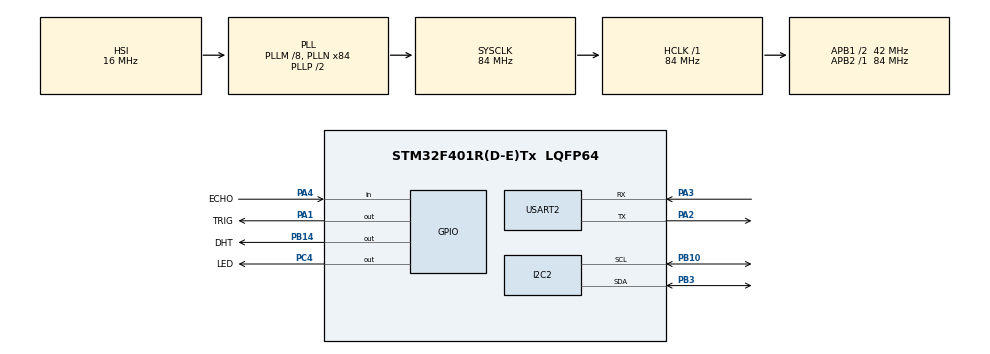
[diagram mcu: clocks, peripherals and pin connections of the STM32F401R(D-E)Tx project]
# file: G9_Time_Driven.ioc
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Mcu.Family=STM32F4
Mcu.Name=STM32F401R(D-E)Tx
Mcu.Package=LQFP64
NVIC.PriorityGroup=NVIC_PRIORITYGROUP_4
NVIC.TIM3_IRQn=true\:1\:0\:true\:false\:true\:true\:true\:true
NVIC.USART2_IRQn=true\:1\:0\:true\:false\:true\:true\:true\:true
PA1.GPIO_Label=TRIG
PA1.Signal=GPIO_Output
PA13.Mode=Serial_Wire
PA13.Signal=SYS_JTMS-SWDIO
PA14.Mode=Serial_Wire
PA14.Signal=SYS_JTCK-SWCLK
PA2.Mode=Asynchronous
PA2.Signal=USART2_TX
PA3.Mode=Asynchronous
PA3.Signal=USART2_RX
PA4.GPIO_Label=ECHO
PA4.Signal=GPIO_Input
PB10.Mode=I2C
PB10.Signal=I2C2_SCL
PB14.GPIO_Label=DHT
PB14.Signal=GPIO_Output
PB3.Mode=I2C
PB3.Signal=I2C2_SDA
PC4.GPIO_Label=LED
PC4.Signal=GPIO_Output
PH0\ -\ OSC_IN.Mode=HSE-External-Oscillator
PH0\ -\ OSC_IN.Signal=RCC_OSC_IN
PH1\ -\ OSC_OUT.Mode=HSE-External-Oscillator
PH1\ -\ OSC_OUT.Signal=RCC_OSC_OUT
ProjectManager.HeapSize=0x200
ProjectManager.StackSize=0x400
ProjectManager.TargetToolchain=STM32CubeIDE
RCC.48MHZClocksFreq_Value=42000000
RCC.AHBFreq_Value=84000000
RCC.APB1CLKDivider=RCC_HCLK_DIV2
RCC.APB1Freq_Value=42000000
RCC.APB1TimFreq_Value=84000000
RCC.APB2Freq_Value=84000000
RCC.APB2TimFreq_Value=84000000
RCC.CortexFreq_Value=84000000
RCC.HCLKFreq_Value=84000000
RCC.HSE_VALUE=25000000
RCC.HSI_VALUE=16000000
RCC.LSE_VALUE=32768
RCC.PLLM=8
RCC.PLLN=84
RCC.SYSCLKFreq_VALUE=84000000
RCC.SYSCLKSource=RCC_SYSCLKSOURCE_PLLCLK
RCC.VCOOutputFreq_Value=168000000
TIM3.Period=19999
TIM3.Prescaler=839
TIM4.Prescaler=83
USART2.VirtualMode=VM_ASYNC
VP_TIM3_VS_ClockSourceINT.Mode=Internal
VP_TIM4_VS_ClockSourceINT.Mode=Internal
board=custom

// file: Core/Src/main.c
/* USER CODE BEGIN Header */
/**
 ******************************************************************************
 * @file           : main.c
 * @brief          : Main program body
 ******************************************************************************
 * @attention
 *
 * Copyright (c) 2024 STMicroelectronics.
 * All rights reserved.
 *
 * This software is licensed under terms that can be found in the LICENSE file
 * in the root directory of this software component.
 * If no LICENSE file comes with this software, it is provided AS-IS.
 *
 ******************************************************************************
 */
/* USER CODE END Header */
#include "main.h"

/* USER CODE BEGIN Includes */
#include <stdio.h>
#include <string.h>
#include <stdlib.h>
#include "delay_timer.h"
#include "dht11.h"
#include "lcd_i2c.h"
#include "hrf05.h"
#include "Task_Scheduler.h"
/* USER CODE END Includes */

/* USER CODE BEGIN PTD */

/* Display mode */
typedef enum
{
	DISPLAY_DISTANCE,
	DISPLAY_TEMP,
	DISPLAY_HUMI,
	DISPLAY_ALL
} DisplayMode_t;

/* USER CODE END PTD */

/* USER CODE BEGIN PD */
#define MAX_RX_LEN 				13
#define DISPLAY_COMMAND_LEN 	11
#define TIME_COMMAND_LEN 		8
#define FRAME_TICK_LENGTH_MS 	200 //in ms
/* USER CODE END PD */

I2C_HandleTypeDef hi2c2;

TIM_HandleTypeDef htim3;
TIM_HandleTypeDef htim4;

UART_HandleTypeDef huart2;

/* USER CODE BEGIN PV */
/* Sensors Instance */
DHT11_Sensor dht;
LCD_I2C_Name lcd;
SRF05_Device_Name hrf05;

/* Buffers and flags */
uint8_t count;
DHT11_Status dhtStatus;
char temp[18];
uint8_t rxData[20]; /* UART data receiver buffer */
uint8_t rxDataIndex = 0;
volatile uint8_t isInterrupt = 0;
DisplayMode_t DisplayMode = DISPLAY_ALL;

float dhtTemp; /* Measurement value of Temperature */
float dhtHumid; /* Measurement value of Humidity */
float distance; /* Measurement value of distance */

sTaskTCB* TASK_DHT_MEASUREMENT;
sTaskTCB* TASK_DIST_MEASUREMENT;
sTaskTCB* TASK_DISPLAY_MEASUREMENT;
sTaskTCB* TASK_INTERRUPT_HANDLER;

/* USER CODE END PV */

void SystemClock_Config(void);
static void MX_GPIO_Init(void);
static void MX_TIM4_Init(void);
static void MX_I2C2_Init(void);
static void MX_USART2_UART_Init(void);
static void MX_TIM3_Init(void);

/* USER CODE BEGIN 0 */
int __io_putchar(int ch)
{
	HAL_UART_Transmit(&huart2, (uint8_t *)&ch, 1, HAL_MAX_DELAY);

	return ch;
}

/* UART Interrupt Task handler */
void HAL_UART_RxCpltCallback(UART_HandleTypeDef *huart)
{
	if (huart->Instance == huart2.Instance)
	{
		if (rxData[rxDataIndex] == '\n')
		{
			rxData[rxDataIndex] = '\0';
			isInterrupt = 1;
			rxDataIndex = 0;
		}
		else
		{
			rxDataIndex ++;
		}
	}
	HAL_UART_Receive_IT(&huart2, (uint8_t*)&rxData[rxDataIndex], 1);
}

/* UART command handler */
void TASK_UART_Handler(){
	if (isInterrupt){
		printf("UART Handler IN: %ld\r\n", uwTick);
		NVIC_DisableIRQ(USART2_IRQn);
		/* Given the following commands */
		/* Display Mode (11 characters)
		 * displaytemp
		 * displayhumi
		 * displaydist
		 * displayboth
		 */

		/* Time
		 * timetemp
		 * timehumi
		 * timedist
		 */

		char *command = strtok((char*)rxData, " ");
		char *time = strtok(NULL, " ");
		if (NULL == time){
			if (strcmp((const char*)rxData, "displaytemp") == 0)
			{
				DisplayMode = DISPLAY_TEMP;
				printf("Change Display Mode to DISPLAY_TEMP\r\n\n");
			}
			else if (strcmp((const char*)rxData, "displayhumi") == 0)
			{
				DisplayMode = DISPLAY_HUMI;
				printf("Change Display Mode to DISPLAY_HUMI\r\n\n");
			}
			else if (strcmp((const char*)rxData, "displaydist") == 0)
			{
				DisplayMode = DISPLAY_DISTANCE;
				printf("Change Display Mode to DISPLAY_DIST\r\n\n");
			}
			else if (strcmp((const char*)rxData, "displayboth") == 0)
			{
				DisplayMode = DISPLAY_ALL;
				printf("Change Display Mode to DISPLAY_ALL\r\n\n");
			}
			else
			{
				printf("Error Command Syntax\r\n\n");
			}
		}
		else {
			uint32_t pTime = atoi(time);
			if (strcmp((const char*)command, "timedht1") == 0)
			{
				TASK_DHT_MEASUREMENT->Period = pTime/FRAME_TICK_LENGTH_MS;
				printf("Change period of temp time to %ld\r\n", pTime);
			}
			else if (strcmp((const char*)command, "timedist") == 0)
			{
				TASK_DIST_MEASUREMENT->Period = pTime/FRAME_TICK_LENGTH_MS;
				printf("Change period of dist time to %ld\r\n", pTime);
			}
			else
			{
				printf("Error Command Syntax\r\n\n");
			}
			TASK_DISPLAY_MEASUREMENT->Period = TASK_DHT_MEASUREMENT->Period + TASK_DIST_MEASUREMENT->Period;

		}
		NVIC_EnableIRQ(USART2_IRQn);
		printf("UART Handler OUT: %ld\r\n", uwTick);
	}
	isInterrupt = 0;

}

void HAL_TIM_PeriodElapsedCallback(TIM_HandleTypeDef *htim)
{
	if(htim == &htim3){
		SCH_Update();
	}
}

void TASK_Dht_Sense(){
	printf("TASK_DHT_MEASUREMENT IN: %ld\r\n", uwTick);
	dhtStatus = DHT11_GetData(&dht);
	dhtHumid = dht.Humi;
	dhtTemp = dht.Temp;
	printf("TASK_DHT_MEASUREMENT OUT: %ld\r\n", uwTick);
}

void TASK_Dist_Sense(){
	printf("TASK_DIST_MEASUREMENT IN: %ld\r\n", uwTick);
	SRF05_Read(&hrf05);
	distance = hrf05.Distance;
	printf("TASK_DIST_MEASUREMENT OUT: %ld\r\n", uwTick);
}

void TASK_Display_Measurement(){
	printf("TASK_DISPLAY_MEASUREMENT IN: %ld\r\n", uwTick);
	LCD_Clear(&lcd);
	switch (DisplayMode){
	case DISPLAY_DISTANCE:
		sprintf(temp, "D: %.2f", distance);
		LCD_SetCursor(&lcd, 0, 0);
		LCD_WriteString(&lcd, temp);
		printf("Distance: %.2f\r\n", distance);
		break;
	case DISPLAY_HUMI:
		sprintf(temp, "H: %.2f", dhtHumid);
		LCD_SetCursor(&lcd, 0, 0);
		LCD_WriteString(&lcd, temp);
		printf("Humidity: %.2f\r\n", dhtHumid);
		break;
	case DISPLAY_TEMP:
		sprintf(temp, "T: %.2f", dhtTemp);
		LCD_SetCursor(&lcd, 0, 0);
		LCD_WriteString(&lcd, temp);
		printf("Temperature: %.2f\r\n", dhtTemp);
		break;
	case DISPLAY_ALL:
		sprintf(temp, "T: %.2f D: %.2f", dhtTemp, distance);
		LCD_SetCursor(&lcd, 0, 0);
		LCD_WriteString(&lcd, temp);
		sprintf(temp, "H: %.2f", dhtHumid);
		LCD_SetCursor(&lcd, 0, 1);
		LCD_WriteString(&lcd, temp);
		printf("Distance: %.2f\r\n", distance);
		printf("Humidity: %.2f\r\n", dhtHumid);
		printf("Temperature: %.2f\r\n", dhtTemp);
		break;
	}
	printf("TASK_DISPLAY_MEASUREMENT OUT: %ld\r\n", uwTick);
}
/* USER CODE END 0 */

int main(void)
{

	/* MCU Configuration--------------------------------------------------------*/

	/* Reset of all peripherals, Initializes the Flash interface and the Systick. */
	HAL_Init();

	/* Configure the system clock */
	SystemClock_Config();

	/* Initialize all configured peripherals */
	MX_GPIO_Init();
	MX_TIM4_Init();
	MX_I2C2_Init();
	MX_USART2_UART_Init();
	MX_TIM3_Init();
	/* USER CODE BEGIN 2 */
	DHT11_Init(&dht, DHT_GPIO_Port, DHT_Pin, &htim4);
	LCD_Init(&lcd, &hi2c2, LDC_DEFAULT_ADDRESS, 20, 4);
	SRF05_Init(&hrf05, ECHO_GPIO_Port, ECHO_Pin, TRIG_GPIO_Port, TRIG_Pin);
	HAL_UART_Receive_IT(&huart2, (uint8_t*)&rxData[rxDataIndex], 1);
	printf("Start\r\n");
	hSCH_Init();
	/* Initialize tasks */
	TASK_DHT_MEASUREMENT              = SCH_Add_Task((TASK_SCH *)TASK_Dht_Sense,
										0,
										1000/FRAME_TICK_LENGTH_MS,
										1,
										1);
	TASK_DIST_MEASUREMENT             = SCH_Add_Task((TASK_SCH *)TASK_Dist_Sense,
										0,
										1000/FRAME_TICK_LENGTH_MS,
										1,
										1);
	TASK_DISPLAY_MEASUREMENT          = SCH_Add_Task((TASK_SCH *)TASK_Display_Measurement,
										0,
										1000/FRAME_TICK_LENGTH_MS,
										1,
										1);
	TASK_INTERRUPT_HANDLER			  = SCH_Add_Task((TASK_SCH *)TASK_UART_Handler,
										0,
										1000/FRAME_TICK_LENGTH_MS,
										1,
										1);

	SCH_Start(&htim3);
	/* USER CODE END 2 */

	/* Infinite loop */
	while (1)
	{

		/* USER CODE BEGIN 3 */
		hSCH_Dispatch_Tasks();
	}
	/* USER CODE END 3 */
}

void SystemClock_Config(void)
{
	RCC_OscInitTypeDef RCC_OscInitStruct = {0};
	RCC_ClkInitTypeDef RCC_ClkInitStruct = {0};

	/** Configure the main internal regulator output voltage
	 */
	__HAL_RCC_PWR_CLK_ENABLE();
	__HAL_PWR_VOLTAGESCALING_CONFIG(PWR_REGULATOR_VOLTAGE_SCALE2);

	/** Initializes the RCC Oscillators according to the specified parameters
	 * in the RCC_OscInitTypeDef structure.
	 */
	RCC_OscInitStruct.OscillatorType = RCC_OSCILLATORTYPE_HSI;
	RCC_OscInitStruct.HSIState = RCC_HSI_ON;
	RCC_OscInitStruct.HSICalibrationValue = RCC_HSICALIBRATION_DEFAULT;
	RCC_OscInitStruct.PLL.PLLState = RCC_PLL_ON;
	RCC_OscInitStruct.PLL.PLLSource = RCC_PLLSOURCE_HSI;
	RCC_OscInitStruct.PLL.PLLM = 8;
	RCC_OscInitStruct.PLL.PLLN = 84;
	RCC_OscInitStruct.PLL.PLLP = RCC_PLLP_DIV2;
	RCC_OscInitStruct.PLL.PLLQ = 4;
	if (HAL_RCC_OscConfig(&RCC_OscInitStruct) != HAL_OK)
	{
		Error_Handler();
	}

	/** Initializes the CPU, AHB and APB buses clocks
	 */
	RCC_ClkInitStruct.ClockType = RCC_CLOCKTYPE_HCLK|RCC_CLOCKTYPE_SYSCLK
			|RCC_CLOCKTYPE_PCLK1|RCC_CLOCKTYPE_PCLK2;
	RCC_ClkInitStruct.SYSCLKSource = RCC_SYSCLKSOURCE_PLLCLK;
	RCC_ClkInitStruct.AHBCLKDivider = RCC_SYSCLK_DIV1;
	RCC_ClkInitStruct.APB1CLKDivider = RCC_HCLK_DIV2;
	RCC_ClkInitStruct.APB2CLKDivider = RCC_HCLK_DIV1;

	if (HAL_RCC_ClockConfig(&RCC_ClkInitStruct, FLASH_LATENCY_2) != HAL_OK)
	{
		Error_Handler();
	}
}

static void MX_I2C2_Init(void)
{

	hi2c2.Instance = I2C2;
	hi2c2.Init.ClockSpeed = 100000;
	hi2c2.Init.DutyCycle = I2C_DUTYCYCLE_2;
	hi2c2.Init.OwnAddress1 = 0;
	hi2c2.Init.AddressingMode = I2C_ADDRESSINGMODE_7BIT;
	hi2c2.Init.DualAddressMode = I2C_DUALADDRESS_DISABLE;
	hi2c2.Init.OwnAddress2 = 0;
	hi2c2.Init.GeneralCallMode = I2C_GENERALCALL_DISABLE;
	hi2c2.Init.NoStretchMode = I2C_NOSTRETCH_DISABLE;
	if (HAL_I2C_Init(&hi2c2) != HAL_OK)
	{
		Error_Handler();
	}

}

static void MX_TIM3_Init(void)
{

	TIM_ClockConfigTypeDef sClockSourceConfig = {0};
	TIM_MasterConfigTypeDef sMasterConfig = {0};

	htim3.Instance = TIM3;
	htim3.Init.Prescaler = 839;
	htim3.Init.CounterMode = TIM_COUNTERMODE_UP;
	htim3.Init.Period = 19999;
	htim3.Init.ClockDivision = TIM_CLOCKDIVISION_DIV1;
	htim3.Init.AutoReloadPreload = TIM_AUTORELOAD_PRELOAD_DISABLE;
	if (HAL_TIM_Base_Init(&htim3) != HAL_OK)
	{
		Error_Handler();
	}
	sClockSourceConfig.ClockSource = TIM_CLOCKSOURCE_INTERNAL;
	if (HAL_TIM_ConfigClockSource(&htim3, &sClockSourceConfig) != HAL_OK)
	{
		Error_Handler();
	}
	sMasterConfig.MasterOutputTrigger = TIM_TRGO_RESET;
	sMasterConfig.MasterSlaveMode = TIM_MASTERSLAVEMODE_DISABLE;
	if (HAL_TIMEx_MasterConfigSynchronization(&htim3, &sMasterConfig) != HAL_OK)
	{
		Error_Handler();
	}

}

static void MX_TIM4_Init(void)
{

	TIM_ClockConfigTypeDef sClockSourceConfig = {0};
	TIM_MasterConfigTypeDef sMasterConfig = {0};

	htim4.Instance = TIM4;
	htim4.Init.Prescaler = 83;
	htim4.Init.CounterMode = TIM_COUNTERMODE_UP;
	htim4.Init.Period = 65535;
	htim4.Init.ClockDivision = TIM_CLOCKDIVISION_DIV1;
	htim4.Init.AutoReloadPreload = TIM_AUTORELOAD_PRELOAD_DISABLE;
	if (HAL_TIM_Base_Init(&htim4) != HAL_OK)
	{
		Error_Handler();
	}
	sClockSourceConfig.ClockSource = TIM_CLOCKSOURCE_INTERNAL;
	if (HAL_TIM_ConfigClockSource(&htim4, &sClockSourceConfig) != HAL_OK)
	{
		Error_Handler();
	}
	sMasterConfig.MasterOutputTrigger = TIM_TRGO_RESET;
	sMasterConfig.MasterSlaveMode = TIM_MASTERSLAVEMODE_DISABLE;
	if (HAL_TIMEx_MasterConfigSynchronization(&htim4, &sMasterConfig) != HAL_OK)
	{
		Error_Handler();
	}

}

static void MX_USART2_UART_Init(void)
{

	huart2.Instance = USART2;
	huart2.Init.BaudRate = 115200;
	huart2.Init.WordLength = UART_WORDLENGTH_8B;
	huart2.Init.StopBits = UART_STOPBITS_1;
	huart2.Init.Parity = UART_PARITY_NONE;
	huart2.Init.Mode = UART_MODE_TX_RX;
	huart2.Init.HwFlowCtl = UART_HWCONTROL_NONE;
	huart2.Init.OverSampling = UART_OVERSAMPLING_16;
	if (HAL_UART_Init(&huart2) != HAL_OK)
	{
		Error_Handler();
	}

}

static void MX_GPIO_Init(void)
{
	GPIO_InitTypeDef GPIO_InitStruct = {0};

	/* GPIO Ports Clock Enable */
	__HAL_RCC_GPIOH_CLK_ENABLE();
	__HAL_RCC_GPIOA_CLK_ENABLE();
	__HAL_RCC_GPIOC_CLK_ENABLE();
	__HAL_RCC_GPIOB_CLK_ENABLE();

	/*Configure GPIO pin Output Level */
	HAL_GPIO_WritePin(TRIG_GPIO_Port, TRIG_Pin, GPIO_PIN_RESET);

	/*Configure GPIO pin Output Level */
	HAL_GPIO_WritePin(LED_GPIO_Port, LED_Pin, GPIO_PIN_RESET);

	/*Configure GPIO pin Output Level */
	HAL_GPIO_WritePin(DHT_GPIO_Port, DHT_Pin, GPIO_PIN_RESET);

	/*Configure GPIO pin : TRIG_Pin */
	GPIO_InitStruct.Pin = TRIG_Pin;
	GPIO_InitStruct.Mode = GPIO_MODE_OUTPUT_PP;
	GPIO_InitStruct.Pull = GPIO_NOPULL;
	GPIO_InitStruct.Speed = GPIO_SPEED_FREQ_LOW;
	HAL_GPIO_Init(TRIG_GPIO_Port, &GPIO_InitStruct);

	/*Configure GPIO pin : ECHO_Pin */
	GPIO_InitStruct.Pin = ECHO_Pin;
	GPIO_InitStruct.Mode = GPIO_MODE_INPUT;
	GPIO_InitStruct.Pull = GPIO_NOPULL;
	HAL_GPIO_Init(ECHO_GPIO_Port, &GPIO_InitStruct);

	/*Configure GPIO pin : LED_Pin */
	GPIO_InitStruct.Pin = LED_Pin;
	GPIO_InitStruct.Mode = GPIO_MODE_OUTPUT_PP;
	GPIO_InitStruct.Pull = GPIO_NOPULL;
	GPIO_InitStruct.Speed = GPIO_SPEED_FREQ_LOW;
	HAL_GPIO_Init(LED_GPIO_Port, &GPIO_InitStruct);

	/*Configure GPIO pin : DHT_Pin */
	GPIO_InitStruct.Pin = DHT_Pin;
	GPIO_InitStruct.Mode = GPIO_MODE_OUTPUT_PP;
	GPIO_InitStruct.Pull = GPIO_NOPULL;
	GPIO_InitStruct.Speed = GPIO_SPEED_FREQ_LOW;
	HAL_GPIO_Init(DHT_GPIO_Port, &GPIO_InitStruct);

}

void Error_Handler(void)
{
	__disable_irq();
	while (1)
	{
	}
}
